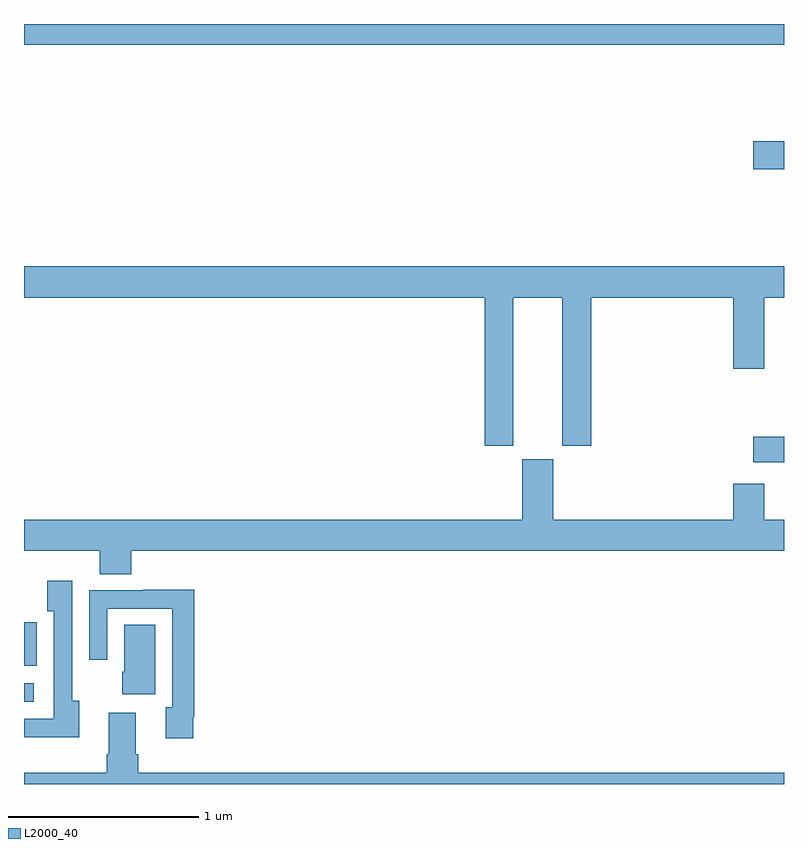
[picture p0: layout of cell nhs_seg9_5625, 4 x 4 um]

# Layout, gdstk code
import gdstk
lib = gdstk.Library(unit=1e-6, precision=1e-09)
def R(c, l, rs):  # rectangles x0, y0, x1, y1
    for r in rs: c.add(gdstk.rectangle(r[:2], r[2:], *l))
def P(c, l, *ps):  # polygons
    for p in ps: c.add(gdstk.Polygon(p, *l))
L2000_40 = (2000, 40)

nhs_seg9_5625 = lib.new_cell('nhs_seg9_5625')
R(nhs_seg9_5625, L2000_40, [(437,1220.934,437.05,1221.03), (437,1221.123,437.068,1221.351), (440.838,1222.193,441,1222.328), (440.838,1223.735,441,1223.882), (437,1224.392,441,1224.5)])
P(nhs_seg9_5625, L2000_40, [(439.576,1223.06),(439.832,1223.06),(439.832,1222.281),(439.985,1222.281),(439.985,1223.06),(440.732,1223.06),(440.732,1222.686),(440.896,1222.686),(440.896,1223.06),(441,1223.06),(441,1223.224),(437,1223.224),(437,1223.06),(439.424,1223.06),(439.424,1222.281),(439.576,1222.281)],
  [(437.564,1221.728),(441,1221.728),(441,1221.892),(440.896,1221.892),(440.896,1222.081),(440.732,1222.081),(440.732,1221.892),(439.786,1221.892),(439.786,1222.209),(439.622,1222.209),(439.622,1221.892),(437,1221.892),(437,1221.728),(437.399,1221.728),(437.399,1221.604),(437.564,1221.604)],
  [(437.29,1220.938),(437.253,1220.938),(437.253,1221.571),(437.123,1221.571),(437.123,1221.41),(437.157,1221.41),(437.157,1220.844),(437,1220.844),(437,1220.747),(437.29,1220.747)],
  [(437.89,1220.854),(437.897,1220.854),(437.897,1221.523),(437.627,1221.523),(437.627,1221.519),(437.343,1221.519),(437.343,1221.153),(437.439,1221.153),(437.439,1221.423),(437.781,1221.423),(437.781,1220.903),(437.747,1220.903),(437.747,1220.742),(437.89,1220.742)],
  [(437.692,1221.337),(437.528,1221.337),(437.528,1221.09),(437.516,1221.09),(437.516,1220.972),(437.692,1220.972)],
  [(441,1220.56),(437.6,1220.56),(437.6,1220.656),(437.587,1220.656),(437.587,1220.875),(437.447,1220.875),(437.447,1220.656),(437.435,1220.656),(437.435,1220.56),(437,1220.56),(437,1220.5),(441,1220.5)])

lib.write_gds('nhs_seg9_5625.gds')
